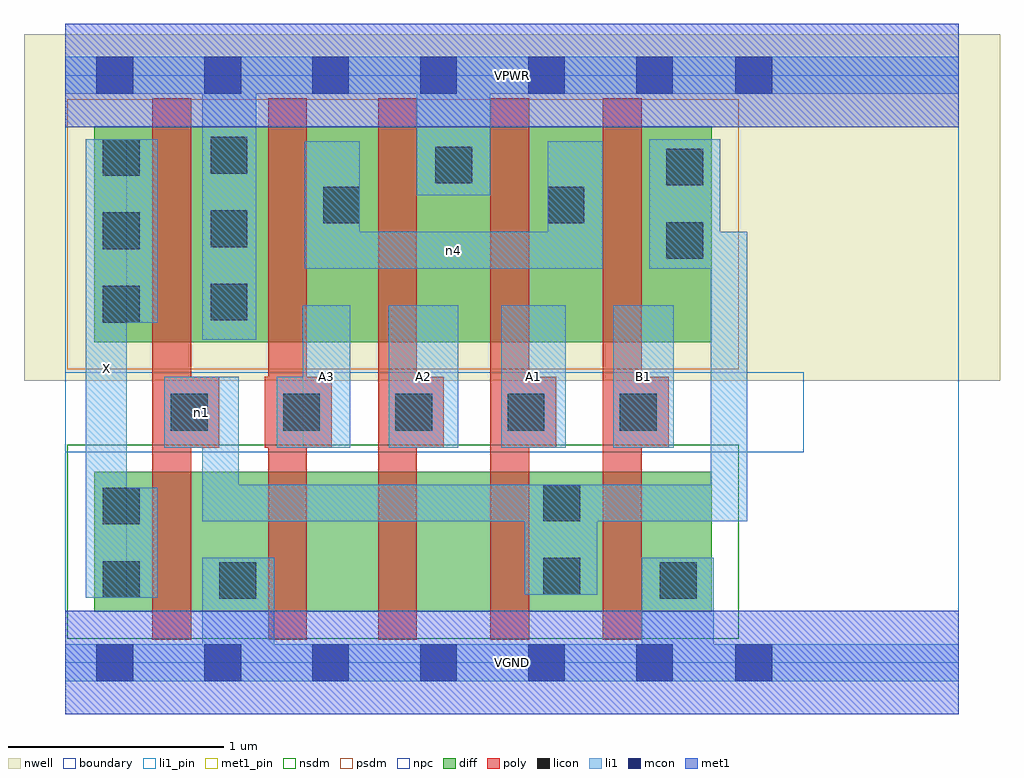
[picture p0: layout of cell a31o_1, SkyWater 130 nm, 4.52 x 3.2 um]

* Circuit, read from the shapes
.subckt a31o_1 A1 A2 A3 B1 VGND VPWR X n1 n4
XM1 VGND n1 X VSUBS sky130_fd_pr__nfet_01v8 w=0.65 l=0.18
XM2 n2 A3 VGND VSUBS sky130_fd_pr__nfet_01v8 w=0.65 l=0.18
XM3 n3 A2 n2 VSUBS sky130_fd_pr__nfet_01v8 w=0.65 l=0.18
XM4 n1 A1 n3 VSUBS sky130_fd_pr__nfet_01v8 w=0.65 l=0.18
XM5 VGND B1 n1 VSUBS sky130_fd_pr__nfet_01v8 w=0.65 l=0.18
XM6 VPWR n1 X n5 sky130_fd_pr__pfet_01v8 w=1 l=0.18
XM7 n4 A3 VPWR n5 sky130_fd_pr__pfet_01v8 w=1 l=0.18
XM8 VPWR A2 n4 n5 sky130_fd_pr__pfet_01v8 w=1 l=0.18
XM9 n4 A1 VPWR n5 sky130_fd_pr__pfet_01v8 w=1 l=0.18
XM10 n1 B1 n4 n5 sky130_fd_pr__pfet_01v8 w=1 l=0.18
.ends

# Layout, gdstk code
import gdstk
lib = gdstk.Library(unit=1e-6, precision=1e-09)
def R(c, l, rs):  # rectangles x0, y0, x1, y1
    for r in rs: c.add(gdstk.rectangle(r[:2], r[2:], *l))
def A(c, l, x, y, w, h, nx, ny, dx, dy):  # array of equal rectangles
    R(c, l, [(x+i*dx, y+j*dy, x+i*dx+w, y+j*dy+h) for i in range(nx) for j in range(ny)])
nwell = (64, 20)
diff = (65, 20)
poly = (66, 20)
licon = (66, 44)
li1_pin = (67, 16)
li1 = (67, 20)
mcon = (67, 44)
met1_pin = (68, 16)
met1 = (68, 20)
nsdm = (93, 44)
psdm = (94, 20)
npc = (95, 20)
boundary = (235, 4)

a31o_1 = lib.new_cell('a31o_1')
R(a31o_1, nwell, [(-0.19,1.305,4.33,2.91), (0,1.305,4.14,2.91)])
R(a31o_1, diff, [(0.135,0.235,2.995,0.885), (0.135,1.485,2.995,2.485)])
A(a31o_1, poly, 1.45, 0.105, 0.18, 2.51, 3, 1, 0.52, 0)
A(a31o_1, poly, 1.45, 0.995, 0.305, 0.33, 3, 1, 0.52, 0)
R(a31o_1, poly, [(0.405,0.105,0.585,2.615), (0.94,0.105,1.12,2.615), (0.405,0.995,0.715,1.325), (0.925,0.995,1.235,1.325)])
A(a31o_1, licon, 0.49, 1.075, 0.17, 0.17, 5, 1, 0.52, 0)
A(a31o_1, licon, 0.175, 1.575, 0.17, 0.17, 1, 3, 0, 0.34)
A(a31o_1, licon, 0.675, 1.585, 0.17, 0.17, 1, 3, 0, 0.34)
R(a31o_1, licon, [(0.715,0.295,0.885,0.465), (2.755,0.295,2.925,0.465), (0.175,0.3,0.345,0.47), (2.215,0.315,2.385,0.485), (0.175,0.64,0.345,0.81), (2.215,0.655,2.385,0.825), (2.785,1.87,2.955,2.04), (1.195,2.035,1.365,2.205), (2.235,2.035,2.405,2.205), (2.785,2.21,2.955,2.38), (1.715,2.22,1.885,2.39)])
R(a31o_1, li1_pin, [(0.095,0.3,0.285,2.425), (1.1,0.995,1.32,1.655), (1.5,0.995,1.82,1.655), (2.02,0.995,2.32,1.655), (2.54,0.995,2.82,1.655)])
R(a31o_1, li1, [(0,-0.085,4.14,0.085), (0.635,-0.085,0.97,0.485), (2.67,-0.085,3.005,0.485), (0.095,0.3,0.285,2.425), (0.095,0.3,0.43,0.81), (2.13,0.315,2.465,0.825), (0.635,0.655,3.16,0.825), (0.635,0.655,0.805,1.325), (2.99,0.655,3.16,1.995), (0.46,0.995,0.805,1.325), (0.98,0.995,1.32,1.325), (1.1,0.995,1.32,1.655), (1.5,0.995,1.82,1.655), (2.02,0.995,2.32,1.655), (2.54,0.995,2.82,1.655), (0.635,1.495,0.885,2.805), (0.095,1.575,0.43,2.425), (1.11,1.825,2.49,1.995), (1.11,1.825,1.365,2.415), (2.235,1.825,2.49,2.415), (2.705,1.825,3.035,2.425), (1.63,2.165,1.97,2.805), (0,2.635,4.14,2.805)])
A(a31o_1, mcon, 0.145, -0.085, 0.17, 0.17, 6, 2, 0.5, 2.72)
R(a31o_1, mcon, [(3.105,-0.085,3.275,0.085), (3.105,2.635,3.275,2.805)])
R(a31o_1, met1_pin, [(0,-0.24,4.14,0.24), (0,2.48,4.14,2.96)])
R(a31o_1, met1, [(0,-0.24,4.14,0.24), (0,2.48,4.14,2.96)])
R(a31o_1, nsdm, [(0.01,0.11,3.12,1.01)])
R(a31o_1, psdm, [(0.01,1.36,3.12,2.61)])
R(a31o_1, npc, [(0,0.975,3.42,1.345)])
R(a31o_1, boundary, [(0,0,4.14,2.72)])
a31o_1.add(gdstk.Label('A1', (2.17,1.325), layer=67, texttype=5))
a31o_1.add(gdstk.Label('A2', (1.66,1.325), layer=67, texttype=5))
a31o_1.add(gdstk.Label('A3', (1.21,1.325), layer=67, texttype=5))
a31o_1.add(gdstk.Label('B1', (2.68,1.325), layer=67, texttype=5))
a31o_1.add(gdstk.Label('X', (0.19,1.362), layer=67, texttype=5))
a31o_1.add(gdstk.Label('n4', (1.8,1.91), layer=67, texttype=5))
a31o_1.add(gdstk.Label('n1', (0.632,1.16), layer=67, texttype=5))
a31o_1.add(gdstk.Label('VPWR', (2.07,2.72), layer=68, texttype=5))
a31o_1.add(gdstk.Label('VGND', (2.07,0), layer=68, texttype=5))
a31o_1.add(gdstk.Label('A1', (2.17,1.325), layer=67, texttype=16))
a31o_1.add(gdstk.Label('A2', (1.66,1.325), layer=67, texttype=16))
a31o_1.add(gdstk.Label('A3', (1.21,1.325), layer=67, texttype=16))
a31o_1.add(gdstk.Label('B1', (2.68,1.325), layer=67, texttype=16))
a31o_1.add(gdstk.Label('X', (0.19,1.362), layer=67, texttype=16))
a31o_1.add(gdstk.Label('VPWR', (2.07,2.72), layer=68, texttype=16))
a31o_1.add(gdstk.Label('VGND', (2.07,0), layer=68, texttype=16))

lib.write_gds('a31o_1.gds')
